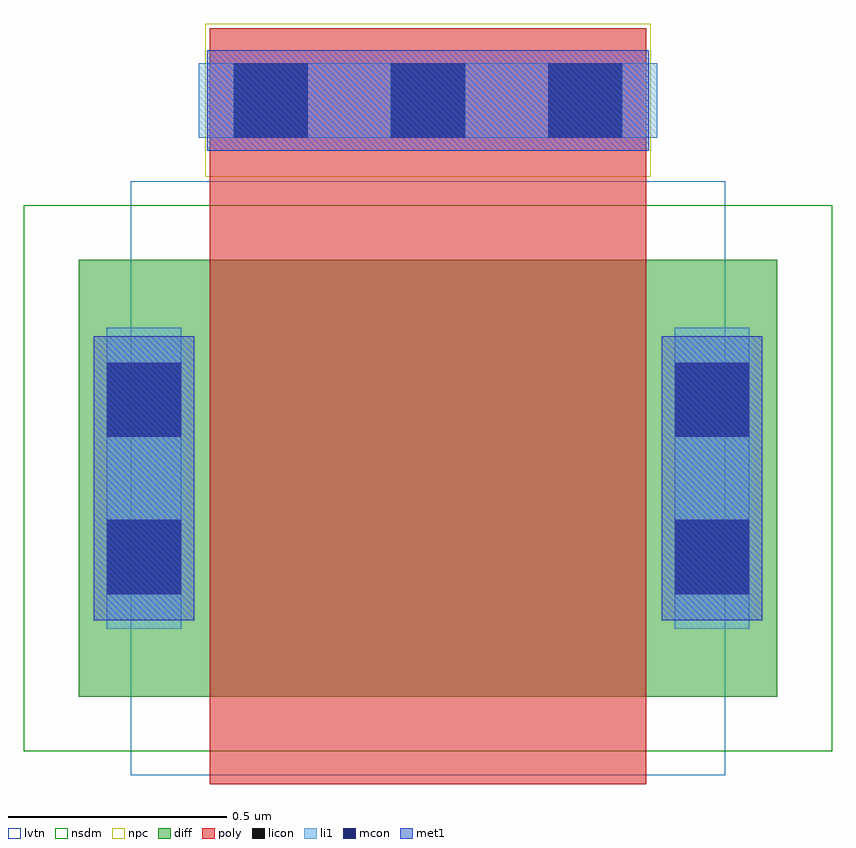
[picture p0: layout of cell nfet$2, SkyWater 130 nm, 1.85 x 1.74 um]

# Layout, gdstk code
import gdstk
lib = gdstk.Library(unit=1e-6, precision=5e-09)
def R(c, l, rs):  # rectangles x0, y0, x1, y1
    for r in rs: c.add(gdstk.rectangle(r[:2], r[2:], *l))
def A(c, l, x, y, w, h, nx, ny, dx, dy):  # array of equal rectangles
    R(c, l, [(x+i*dx, y+j*dy, x+i*dx+w, y+j*dy+h) for i in range(nx) for j in range(ny)])
diff = (65, 20)
poly = (66, 20)
licon = (66, 44)
li1 = (67, 20)
mcon = (67, 44)
met1 = (68, 20)
nsdm = (93, 44)
npc = (95, 20)
lvtn = (125, 44)

nfet_2 = lib.new_cell('nfet$2')
R(nfet_2, diff, [(0,0,1.6,1)])
R(nfet_2, poly, [(0.3,-0.2,1.3,1.2), (0.3,1.2,1.3,1.53)])
A(nfet_2, licon, 0.355, 1.28, 0.17, 0.17, 3, 1, 0.36, 0)
R(nfet_2, licon, [(0.065,0.235,0.235,0.405), (1.365,0.235,1.535,0.405), (0.065,0.595,0.235,0.765), (1.365,0.595,1.535,0.765)])
R(nfet_2, li1, [(0.065,0.155,0.235,0.845), (1.365,0.155,1.535,0.845), (0.275,1.28,1.325,1.45)])
A(nfet_2, mcon, 0.355, 1.28, 0.17, 0.17, 3, 1, 0.36, 0)
R(nfet_2, mcon, [(0.065,0.235,0.235,0.405), (1.365,0.235,1.535,0.405), (0.065,0.595,0.235,0.765), (1.365,0.595,1.535,0.765)])
R(nfet_2, met1, [(0.035,0.175,0.265,0.825), (1.335,0.175,1.565,0.825), (0.295,1.25,1.305,1.48)])
R(nfet_2, nsdm, [(-0.125,-0.125,1.725,1.125)])
R(nfet_2, npc, [(0.29,1.19,1.31,1.54)])
R(nfet_2, lvtn, [(0.12,-0.18,1.48,1.18)])

lib.write_gds('nfet_2.gds')
